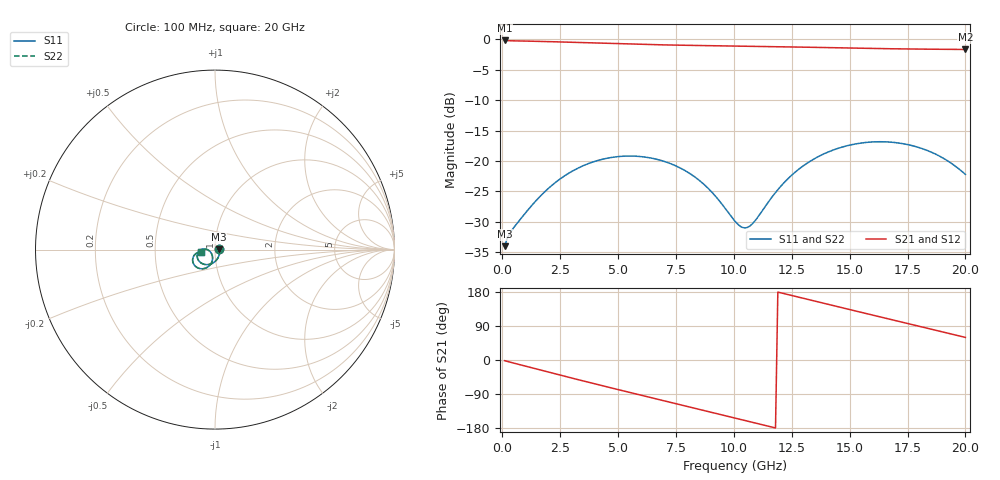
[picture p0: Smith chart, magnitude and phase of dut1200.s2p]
! Touchstone file exported from HFSS 2026.1.0
!  File:  C:/ffzhzh/LocalFiles/Ansys_Project_Files/temp_train_TSV_RDL_1200_1783318443_5512.aedt
!  Generated:  02:22:50 PM Jul  6, 2026
!  Design:  TSV_RDL
!  Project:  temp_train_TSV_RDL_1200_1783318443_5512
! Variables:
!  h_bsmrdl = 5.95um
!  h_ox = 20um
!  h_rdl = 5um
!  h_sub = 85.41um
!  h_tmrdl = 5.85um
!  h_tsv = 85.41um
!  h_via = 3um
!  l_bsmrdl = 262.77um
!  l_sub = 4967.03um
!  l_tmrdl = 910.45um
!  m_sub = 200um
!  pitch = 26.2um
!  r_tsv = 3.22um
!  s_tmrdl = 10um
!  w_bsmrdl = 22.6um
!  w_sub = 500um
!  w_tmrdl = 23.04um
!  x_tsv_center1 = 921.97um
!  x_tsv_center2 = 1207.34um
!  x_tsv_center3 = 2140.83um
!  x_tsv_center4 = 2426.2um
!  x_tsv_center5 = 3359.69um
!  x_tsv_center6 = 3645.06um
# GHz S MA R 50.000000
! Terminal data exported
! Port[1] = TM_RDL1_1_T1
! Port[2] = TM_RDL5_1_T1
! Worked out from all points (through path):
!   200 points, 100 MHz to 20 GHz, reference 50 ohm
!   highest |S21| = -0.17 dB at 100 MHz (marker M1); lowest = -1.7 dB at 20 GHz (marker M2)
!   group delay of S21, straight-line fit = 41.5 ps
!   lowest |S11| = -34.0 dB at 100 MHz (marker M3), VSWR 1.04, Z = 52 + j0.0836 ohm
!   |S11| at or under -10 dB: start of sweep to end of sweep
!   |S22| runs from -34.0 to -16.8 dB; largest |S21 - S12| = 1.6e-14
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0.1  0.01987 2.3  0.9802 -1.8  0.9802 -1.8  0.01987 2.3
! Gamma 0 0 0 0
! Port Impedance 50 0 50 0
0.4  0.02671 -17.3  0.9737 -6.7  0.9737 -6.7  0.02671 -17.3
1.6  0.0503 -72.1  0.9632 -25.7  0.9632 -25.7  0.05033 -72.1
2.5  0.07113 -94.4  0.9529 -39.9  0.9529 -39.9  0.07118 -94.4
3.5  0.0914 -114.1  0.9398 -55.3  0.9398 -55.3  0.09149 -114.0
4.3  0.1029 -128.0  0.9294 -67.5  0.9294 -67.5  0.103 -127.9
5.1  0.1089 -140.9  0.9197 -79.6  0.9197 -79.6  0.1091 -140.8
5.9  0.1089 -152.9  0.911 -91.5  0.911 -91.5  0.1091 -152.8
6.8  0.1016 -165.2  0.9026 -104.9  0.9026 -104.9  0.1018 -165.0
7.7  0.08714 -175.7  0.8957 -118.3  0.8957 -118.3  0.08736 -175.5
8.5  0.06933 177.7  0.8906 -130.1  0.8906 -130.1  0.06958 178.0
9.2  0.05142 176.7  0.8866 -140.5  0.8866 -140.5  0.05171 177.1
10.1  0.03109 -164.8  0.8818 -153.9  0.8818 -153.9  0.03145 -164.5
10.4  0.02823 -149.4  0.8802 -158.4  0.8802 -158.4  0.02859 -149.4
10.7  0.02918 -132.3  0.8785 -162.9  0.8785 -162.9  0.02949 -132.5
12.2  0.06716 -103.8  0.8692 174.7  0.8692 174.7  0.06728 -103.9
13.4  0.1021 -111.5  0.8607 156.8  0.8607 156.8  0.1022 -111.5
15.1  0.1361 -129.5  0.848 131.7  0.848 131.7  0.1363 -129.3
16.7  0.143 -147.6  0.838 108.2  0.838 108.2  0.1433 -147.3
18.3  0.1229 -163.7  0.8311 84.7  0.8311 84.7  0.1234 -163.2
19.2  0.101 -169.9  0.8285 71.5  0.8285 71.5  0.1017 -169.3
20  0.07746 -170.8  0.8264 59.6  0.8264 59.6  0.07832 -170.1
